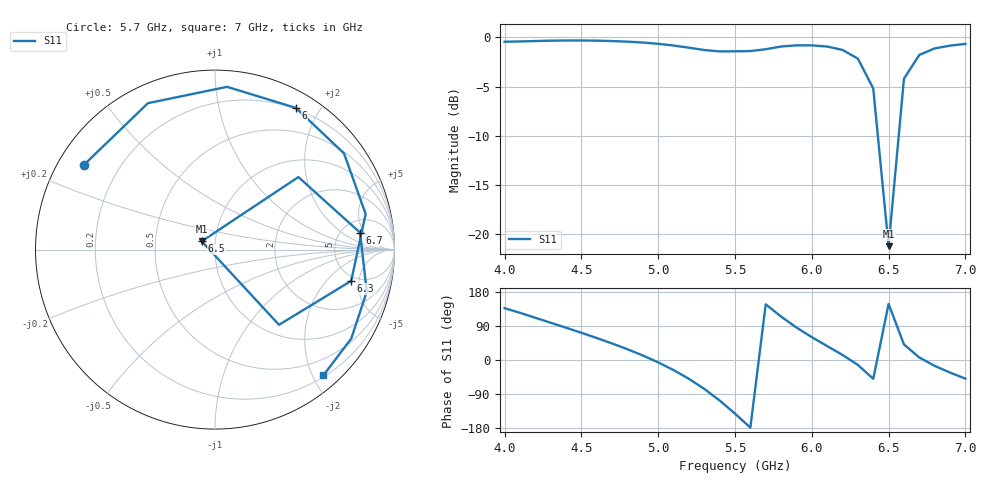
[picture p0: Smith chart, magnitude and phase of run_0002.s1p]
! Touchstone file exported from HFSS 2024.2.0
!  File:  C:/Users/wsak9/Desktop/Sim Fast/Widenad Patch/WP_AI_V1_sweep.aedt
!  Generated:  02:43:39 PM Oct 13, 2026
!  Design:  A1_model
!  Project:  WP_AI_V1_sweep
!  Setup:  Setup1
!  Solution:  Sweep
! Variables:
!  Air_gap = 2.91mm
!  Curve_Amp1 = 2.26
!  Curve_len1 = 1
!  Curve_pos = 9.5mm
!  Extra = 5.55mm
!  H_sub = 0.79mm
!  L_Patch = 15mm
!  L_Patch1 = 20.81mm
!  Sx = 2.75mm
!  Sy = 0.45mm
!  WS = 0.71mm
!  W_Patch = 22.91mm
!  W_Patch1 = 15.26mm
!Data is not renormalized
# GHz S MA
! Terminal data exported
! Port[1] = 1
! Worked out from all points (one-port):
!   31 points, 4 GHz to 7 GHz, reference per port
!   lowest |S11| = -21.2 dB at 6.5 GHz (marker M1), VSWR 1.19
!   |S11| at or under -10 dB: 6.43 GHz to 6.566 GHz (135.8 MHz wide, 2.09 % of centre)
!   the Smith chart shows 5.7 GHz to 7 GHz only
!   S11 on the Smith chart (normalised r, x): 5.7 GHz: 0.08, +0.30; 6 GHz: 0.19, +1.71; 6.3 GHz: 4.45, -3.94; 6.5 GHz: 0.86, +0.08; 6.7 GHz: 7.38, +4.14; 7 GHz: 0.22, -2.16
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4  0.9486 136.7
4.2  0.9562 111.5
4.4  0.9629 85.2
4.5  0.9628 71.8
4.6  0.9606 58.0
4.8  0.9495 28.3
4.9  0.9398 11.9
5  0.9261 -6.3
5.1  0.9076 -26.6
5.2  0.8847 -49.7
5.3  0.8615 -76.3
5.4  0.8473 -106.8
5.5  0.8484 -141.6
5.6  0.8506 -178.4
5.7  0.869 147.0
5.8  0.8974 114.6
5.9  0.9093 85.8
6  0.9091 60.3
6.1  0.8966 36.7
6.2  0.8624 13.3
6.3  0.7787 -12.9
6.4  0.5504 -49.6
6.5  0.08721 148.0
6.6  0.6159 41.0
6.7  0.8137 6.7
6.8  0.8775 -15.5
6.9  0.9065 -33.1
7  0.925 -49.2
